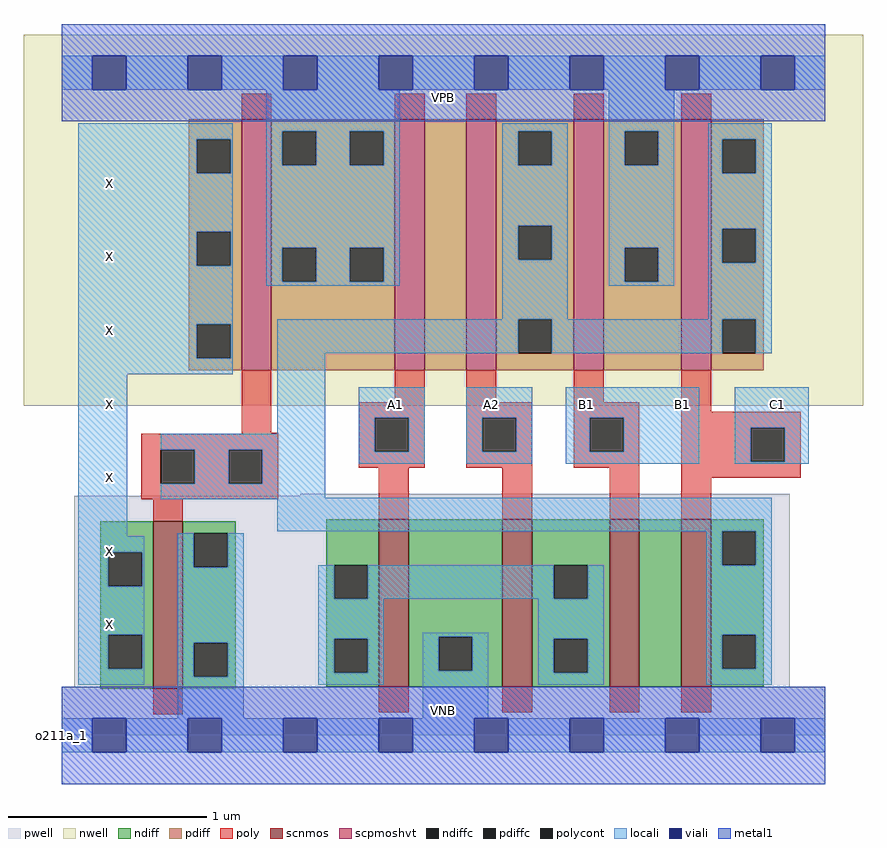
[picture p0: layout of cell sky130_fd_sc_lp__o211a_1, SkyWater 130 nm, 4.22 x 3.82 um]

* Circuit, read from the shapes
.subckt sky130_fd_sc_lp__o211a_1 A1 A2 B1 C1 VGND VNB VPB VPWR X
XM1 VGND n1 X VNB sky130_fd_pr__nfet_01v8 w=0.84 l=0.15
XM2 VGND A1 n2 VNB sky130_fd_pr__nfet_01v8 w=0.84 l=0.15
XM3 n2 A2 VGND VNB sky130_fd_pr__nfet_01v8 w=0.84 l=0.15
XM4 n3 B1 n2 VNB sky130_fd_pr__nfet_01v8 w=0.84 l=0.15
XM5 n1 C1 n3 VNB sky130_fd_pr__nfet_01v8 w=0.84 l=0.15
XM6 VPWR n1 X VPB sky130_fd_pr__pfet_01v8_hvt w=1.26 l=0.15
XM7 n4 A1 VPWR VPB sky130_fd_pr__pfet_01v8_hvt w=1.26 l=0.15
XM8 n1 A2 n4 VPB sky130_fd_pr__pfet_01v8_hvt w=1.26 l=0.15
XM9 VPWR B1 n1 VPB sky130_fd_pr__pfet_01v8_hvt w=1.26 l=0.15
XM10 n1 C1 VPWR VPB sky130_fd_pr__pfet_01v8_hvt w=1.26 l=0.15
.ends

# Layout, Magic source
magic
tech sky130A
magscale 1 2
<< nwell >>
rect -38 331 806 704
<< pwell >>
rect 240 241 732 243
rect 13 49 732 241
rect 0 0 768 49
<< scnmos >>
rect 92 47 122 215
rect 319 49 349 217
rect 443 49 473 217
rect 551 49 581 217
rect 623 49 653 217
<< scpmoshvt >>
rect 181 367 211 619
rect 335 367 365 619
rect 407 367 437 619
rect 515 367 545 619
rect 623 367 653 619
<< ndiff >>
rect 39 184 92 215
rect 39 150 47 184
rect 81 150 92 184
rect 39 101 92 150
rect 39 67 47 101
rect 81 67 92 101
rect 39 47 92 67
rect 122 203 175 215
rect 122 169 133 203
rect 167 169 175 203
rect 122 93 175 169
rect 122 59 133 93
rect 167 59 175 93
rect 122 47 175 59
rect 266 171 319 217
rect 266 137 274 171
rect 308 137 319 171
rect 266 97 319 137
rect 266 63 274 97
rect 308 63 319 97
rect 266 49 319 63
rect 349 99 443 217
rect 349 65 379 99
rect 413 65 443 99
rect 349 49 443 65
rect 473 171 551 217
rect 473 137 495 171
rect 529 137 551 171
rect 473 97 551 137
rect 473 63 495 97
rect 529 63 551 97
rect 473 49 551 63
rect 581 49 623 217
rect 653 205 706 217
rect 653 171 664 205
rect 698 171 706 205
rect 653 101 706 171
rect 653 67 664 101
rect 698 67 706 101
rect 653 49 706 67
<< pdiff >>
rect 128 599 181 619
rect 128 565 136 599
rect 170 565 181 599
rect 128 506 181 565
rect 128 472 136 506
rect 170 472 181 506
rect 128 413 181 472
rect 128 379 136 413
rect 170 379 181 413
rect 128 367 181 379
rect 211 607 335 619
rect 211 573 222 607
rect 256 573 290 607
rect 324 573 335 607
rect 211 490 335 573
rect 211 456 222 490
rect 256 456 290 490
rect 324 456 335 490
rect 211 367 335 456
rect 365 367 407 619
rect 437 607 515 619
rect 437 573 459 607
rect 493 573 515 607
rect 437 512 515 573
rect 437 478 459 512
rect 493 478 515 512
rect 437 418 515 478
rect 437 384 459 418
rect 493 384 515 418
rect 437 367 515 384
rect 545 607 623 619
rect 545 573 566 607
rect 600 573 623 607
rect 545 490 623 573
rect 545 456 566 490
rect 600 456 623 490
rect 545 367 623 456
rect 653 599 706 619
rect 653 565 664 599
rect 698 565 706 599
rect 653 509 706 565
rect 653 475 664 509
rect 698 475 706 509
rect 653 418 706 475
rect 653 384 664 418
rect 698 384 706 418
rect 653 367 706 384
<< ndiffc >>
rect 47 150 81 184
rect 47 67 81 101
rect 133 169 167 203
rect 133 59 167 93
rect 274 137 308 171
rect 274 63 308 97
rect 379 65 413 99
rect 495 137 529 171
rect 495 63 529 97
rect 664 171 698 205
rect 664 67 698 101
<< pdiffc >>
rect 136 565 170 599
rect 136 472 170 506
rect 136 379 170 413
rect 222 573 256 607
rect 290 573 324 607
rect 222 456 256 490
rect 290 456 324 490
rect 459 573 493 607
rect 459 478 493 512
rect 459 384 493 418
rect 566 573 600 607
rect 566 456 600 490
rect 664 565 698 599
rect 664 475 698 509
rect 664 384 698 418
<< poly >>
rect 181 619 211 645
rect 335 619 365 645
rect 407 619 437 645
rect 515 619 545 645
rect 623 619 653 645
rect 181 304 211 367
rect 335 335 365 367
rect 299 319 365 335
rect 181 303 218 304
rect 80 287 218 303
rect 80 253 100 287
rect 134 253 168 287
rect 202 253 218 287
rect 299 285 315 319
rect 349 285 365 319
rect 299 269 365 285
rect 407 335 437 367
rect 515 335 545 367
rect 407 319 473 335
rect 407 285 423 319
rect 457 285 473 319
rect 407 269 473 285
rect 515 319 581 335
rect 515 285 531 319
rect 565 285 581 319
rect 515 269 581 285
rect 80 237 218 253
rect 92 215 122 237
rect 319 217 349 269
rect 443 217 473 269
rect 551 217 581 269
rect 623 325 653 367
rect 623 309 743 325
rect 623 275 693 309
rect 727 275 743 309
rect 623 259 743 275
rect 623 217 653 259
rect 92 21 122 47
rect 319 23 349 49
rect 443 23 473 49
rect 551 23 581 49
rect 623 23 653 49
<< polycont >>
rect 100 253 134 287
rect 168 253 202 287
rect 315 285 349 319
rect 423 285 457 319
rect 531 285 565 319
rect 693 275 727 309
<< locali >>
rect 0 649 31 683
rect 65 649 127 683
rect 161 649 223 683
rect 257 649 319 683
rect 353 649 415 683
rect 449 649 511 683
rect 545 649 607 683
rect 641 649 703 683
rect 737 649 768 683
rect 17 599 172 615
rect 17 565 136 599
rect 170 565 172 599
rect 17 506 172 565
rect 17 472 136 506
rect 170 472 172 506
rect 17 413 172 472
rect 206 607 340 649
rect 206 573 222 607
rect 256 573 290 607
rect 324 573 340 607
rect 206 490 340 573
rect 206 456 222 490
rect 256 456 290 490
rect 324 456 340 490
rect 206 452 340 456
rect 443 607 509 615
rect 443 573 459 607
rect 493 573 509 607
rect 443 512 509 573
rect 443 478 459 512
rect 493 478 509 512
rect 443 418 509 478
rect 550 607 616 649
rect 550 573 566 607
rect 600 573 616 607
rect 550 490 616 573
rect 550 456 566 490
rect 600 456 616 490
rect 550 452 616 456
rect 650 599 714 615
rect 650 565 664 599
rect 698 565 714 599
rect 650 509 714 565
rect 650 475 664 509
rect 698 475 714 509
rect 650 418 714 475
rect 17 379 136 413
rect 170 379 172 413
rect 17 363 172 379
rect 217 384 459 418
rect 493 384 664 418
rect 698 384 714 418
rect 17 200 66 363
rect 217 303 265 384
rect 100 287 265 303
rect 134 253 168 287
rect 202 253 265 287
rect 299 319 365 350
rect 299 285 315 319
rect 349 285 365 319
rect 299 273 365 285
rect 407 319 473 350
rect 407 285 423 319
rect 457 285 473 319
rect 407 273 473 285
rect 507 319 641 350
rect 507 285 531 319
rect 565 285 641 319
rect 507 273 641 285
rect 677 309 751 350
rect 677 275 693 309
rect 727 275 751 309
rect 677 273 751 275
rect 100 239 265 253
rect 100 237 714 239
rect 217 205 714 237
rect 17 184 83 200
rect 17 150 47 184
rect 81 150 83 184
rect 17 101 83 150
rect 17 67 47 101
rect 81 67 83 101
rect 17 51 83 67
rect 117 169 133 203
rect 167 169 183 203
rect 648 171 664 205
rect 698 171 714 205
rect 117 93 183 169
rect 117 59 133 93
rect 167 59 183 93
rect 117 17 183 59
rect 258 137 274 171
rect 308 137 495 171
rect 529 137 545 171
rect 258 97 324 137
rect 258 63 274 97
rect 308 63 324 97
rect 258 51 324 63
rect 363 99 429 103
rect 363 65 379 99
rect 413 65 429 99
rect 363 17 429 65
rect 479 97 545 137
rect 479 63 495 97
rect 529 63 545 97
rect 479 51 545 63
rect 648 101 714 171
rect 648 67 664 101
rect 698 67 714 101
rect 648 51 714 67
rect 0 -17 31 17
rect 65 -17 127 17
rect 161 -17 223 17
rect 257 -17 319 17
rect 353 -17 415 17
rect 449 -17 511 17
rect 545 -17 607 17
rect 641 -17 703 17
rect 737 -17 768 17
<< viali >>
rect 31 649 65 683
rect 127 649 161 683
rect 223 649 257 683
rect 319 649 353 683
rect 415 649 449 683
rect 511 649 545 683
rect 607 649 641 683
rect 703 649 737 683
rect 31 -17 65 17
rect 127 -17 161 17
rect 223 -17 257 17
rect 319 -17 353 17
rect 415 -17 449 17
rect 511 -17 545 17
rect 607 -17 641 17
rect 703 -17 737 17
<< metal1 >>
rect 0 683 768 715
rect 0 649 31 683
rect 65 649 127 683
rect 161 649 223 683
rect 257 649 319 683
rect 353 649 415 683
rect 449 649 511 683
rect 545 649 607 683
rect 641 649 703 683
rect 737 649 768 683
rect 0 617 768 649
rect 0 17 768 49
rect 0 -17 31 17
rect 65 -17 127 17
rect 161 -17 223 17
rect 257 -17 319 17
rect 353 -17 415 17
rect 449 -17 511 17
rect 545 -17 607 17
rect 641 -17 703 17
rect 737 -17 768 17
rect 0 -49 768 -17
<< labels >>
flabel pwell s 0 0 768 49 0 FreeSans 200 0 0 0 VNB
port 6 nsew ground bidirectional
flabel nwell s 0 617 768 666 0 FreeSans 200 0 0 0 VPB
port 7 nsew power bidirectional
rlabel comment s 0 0 0 0 4 o211a_1
flabel metal1 s 0 617 768 666 0 FreeSans 340 0 0 0 VPWR
port 8 nsew power bidirectional
flabel metal1 s 0 0 768 49 0 FreeSans 340 0 0 0 VGND
port 5 nsew ground bidirectional
flabel locali s 415 316 449 350 0 FreeSans 340 0 0 0 A2
port 2 nsew signal input
flabel locali s 511 316 545 350 0 FreeSans 340 0 0 0 B1
port 3 nsew signal input
flabel locali s 607 316 641 350 0 FreeSans 340 0 0 0 B1
port 3 nsew signal input
flabel locali s 703 316 737 350 0 FreeSans 340 0 0 0 C1
port 4 nsew signal input
flabel locali s 31 94 65 128 0 FreeSans 340 0 0 0 X
port 9 nsew signal output
flabel locali s 31 168 65 202 0 FreeSans 340 0 0 0 X
port 9 nsew signal output
flabel locali s 31 242 65 276 0 FreeSans 340 0 0 0 X
port 9 nsew signal output
flabel locali s 31 316 65 350 0 FreeSans 340 0 0 0 X
port 9 nsew signal output
flabel locali s 31 390 65 424 0 FreeSans 340 0 0 0 X
port 9 nsew signal output
flabel locali s 31 464 65 498 0 FreeSans 340 0 0 0 X
port 9 nsew signal output
flabel locali s 31 538 65 572 0 FreeSans 340 0 0 0 X
port 9 nsew signal output
flabel locali s 319 316 353 350 0 FreeSans 340 0 0 0 A1
port 1 nsew signal input
<< properties >>
string LEFsite unit
string LEFclass CORE
string FIXED_BBOX 0 0 768 666
string GDS_FILE $PDKPATH/libs.ref/sky130_fd_sc_lp/gds/sky130_fd_sc_lp.gds
string LEFsymmetry X Y R90
string GDS_END 1655968
string GDS_START 1648442
<< end >>
